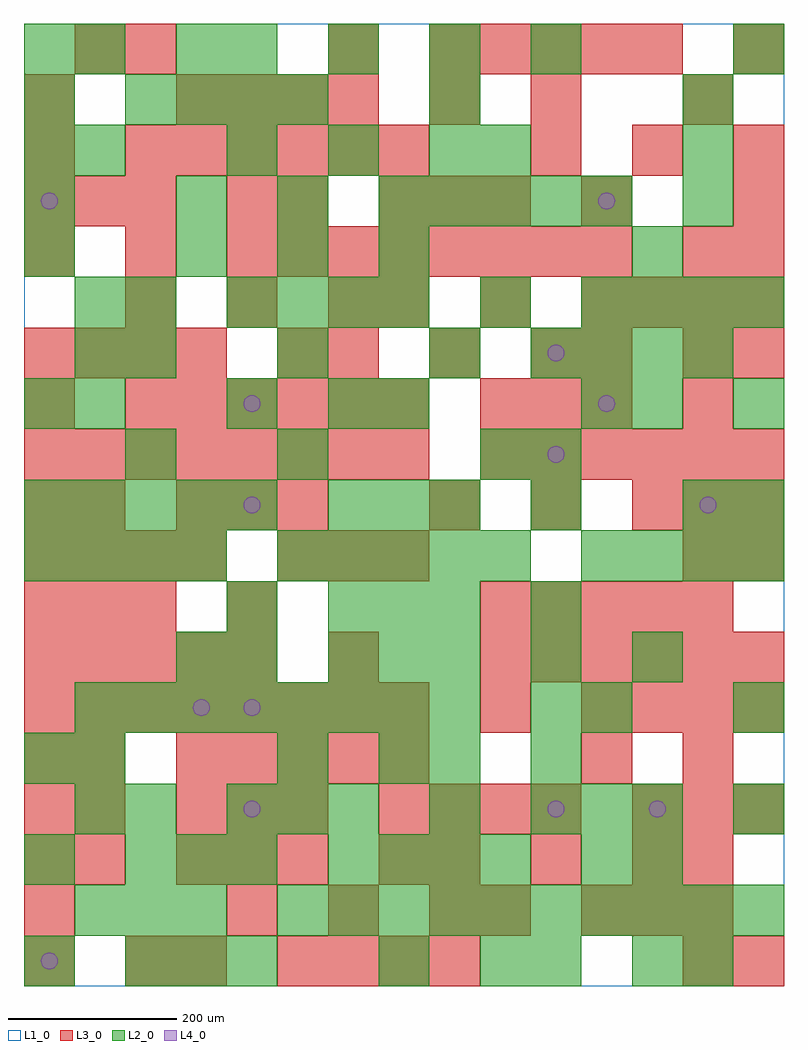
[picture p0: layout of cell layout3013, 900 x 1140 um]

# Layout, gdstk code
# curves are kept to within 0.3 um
import gdstk
lib = gdstk.Library(unit=1e-6, precision=1e-09)
def R(c, l, rs):  # rectangles x0, y0, x1, y1
    for r in rs: c.add(gdstk.rectangle(r[:2], r[2:], *l))
def A(c, l, x, y, w, h, nx, ny, dx, dy):  # array of equal rectangles
    R(c, l, [(x+i*dx, y+j*dy, x+i*dx+w, y+j*dy+h) for i in range(nx) for j in range(ny)])
def P(c, l, *ps):  # polygons
    for p in ps: c.add(gdstk.Polygon(p, *l))
L1_0 = (1, 0)
L2_0 = (2, 0)
L3_0 = (3, 0)
L4_0 = (4, 0)

layout3013 = lib.new_cell('layout3013')
R(layout3013, L1_0, [(0,0,900,1140)])
A(layout3013, L2_0, 0, 0, 60, 60, 1, 3, 0, 120)
A(layout3013, L2_0, 120, 0, 60, 60, 3, 2, 60, 120)
A(layout3013, L2_0, 60, 60, 60, 60, 3, 1, 60, 0)
A(layout3013, L2_0, 300, 60, 60, 60, 10, 1, 60, 0)
A(layout3013, L2_0, 360, 120, 60, 60, 4, 1, 60, 0)
A(layout3013, L2_0, 240, 180, 60, 60, 3, 1, 60, 0)
A(layout3013, L2_0, 600, 180, 60, 60, 3, 1, 60, 0)
A(layout3013, L2_0, 600, 240, 60, 60, 1, 4, 0, 60)
A(layout3013, L2_0, 60, 300, 60, 60, 8, 1, 60, 0)
A(layout3013, L2_0, 360, 360, 60, 60, 3, 2, 60, 60)
A(layout3013, L2_0, 0, 480, 60, 60, 4, 1, 60, 0)
A(layout3013, L2_0, 300, 480, 60, 60, 5, 1, 60, 0)
A(layout3013, L2_0, 660, 480, 60, 60, 4, 2, 60, 300)
A(layout3013, L2_0, 0, 540, 60, 60, 5, 1, 60, 0)
A(layout3013, L2_0, 360, 540, 60, 60, 3, 1, 60, 0)
A(layout3013, L2_0, 540, 600, 60, 60, 1, 3, 0, 180)
A(layout3013, L2_0, 60, 660, 60, 60, 1, 3, 0, 60)
A(layout3013, L2_0, 120, 720, 60, 60, 3, 1, 180, 0)
A(layout3013, L2_0, 600, 720, 60, 60, 4, 1, 60, 0)
A(layout3013, L2_0, 240, 780, 60, 60, 4, 1, 60, 0)
A(layout3013, L2_0, 0, 840, 60, 60, 1, 5, 0, 60)
A(layout3013, L2_0, 180, 840, 60, 60, 3, 2, 120, 60)
A(layout3013, L2_0, 480, 900, 60, 60, 4, 1, 60, 0)
A(layout3013, L2_0, 780, 900, 60, 60, 1, 3, 0, 60)
A(layout3013, L2_0, 240, 960, 60, 60, 3, 1, 120, 0)
A(layout3013, L2_0, 120, 1020, 60, 60, 4, 1, 60, 0)
A(layout3013, L2_0, 240, 1080, 60, 60, 4, 1, 120, 0)
R(layout3013, L2_0, [(420,0,480,60), (540,0,600,60), (600,0,660,60), (720,0,780,60), (780,0,840,60), (660,120,720,180), (720,120,780,180), (60,180,120,240), (120,180,180,240), (480,180,540,240), (840,180,900,240), (60,240,120,300), (300,240,360,300), (420,240,480,300), (480,240,540,300), (660,300,720,360), (840,300,900,360), (180,360,240,420), (240,360,300,420), (720,360,780,420), (240,420,300,480), (600,540,660,600), (780,540,840,600), (840,540,900,600), (120,600,180,660), (300,600,360,660), (600,600,660,660), (0,660,60,720), (240,660,300,720), (360,660,420,720), (420,660,480,720), (660,660,720,720), (720,660,780,720), (840,660,900,720), (120,780,180,840), (720,840,780,900), (60,960,120,1020), (480,1020,540,1080), (60,1080,120,1140), (180,1080,240,1140), (840,1080,900,1140)])
A(layout3013, L3_0, 0, 0, 60, 60, 1, 5, 0, 60)
A(layout3013, L3_0, 300, 0, 60, 60, 4, 1, 60, 0)
A(layout3013, L3_0, 780, 0, 60, 60, 1, 3, 0, 120)
A(layout3013, L3_0, 240, 60, 60, 60, 3, 1, 120, 0)
A(layout3013, L3_0, 660, 60, 60, 60, 3, 1, 60, 0)
A(layout3013, L3_0, 60, 120, 60, 60, 1, 3, 0, 60)
A(layout3013, L3_0, 180, 120, 60, 60, 3, 2, 60, 60)
A(layout3013, L3_0, 480, 120, 60, 60, 3, 2, 120, 420)
A(layout3013, L3_0, 420, 180, 60, 60, 4, 1, 60, 0)
A(layout3013, L3_0, 720, 180, 60, 60, 3, 2, 60, 600)
A(layout3013, L3_0, 180, 240, 60, 60, 5, 1, 60, 0)
A(layout3013, L3_0, 0, 300, 60, 60, 8, 2, 60, 300)
A(layout3013, L3_0, 660, 300, 60, 60, 4, 1, 60, 0)
A(layout3013, L3_0, 0, 360, 60, 60, 5, 1, 60, 0)
A(layout3013, L3_0, 540, 360, 60, 60, 6, 2, 60, 240)
A(layout3013, L3_0, 0, 420, 60, 60, 3, 2, 60, 480)
A(layout3013, L3_0, 540, 420, 60, 60, 5, 1, 60, 0)
A(layout3013, L3_0, 0, 480, 60, 60, 4, 2, 60, 240)
A(layout3013, L3_0, 300, 480, 60, 60, 3, 1, 60, 0)
A(layout3013, L3_0, 180, 540, 60, 60, 3, 1, 60, 0)
A(layout3013, L3_0, 120, 660, 60, 60, 6, 2, 60, 300)
A(layout3013, L3_0, 540, 660, 60, 60, 3, 1, 60, 0)
A(layout3013, L3_0, 360, 720, 60, 60, 3, 1, 120, 0)
A(layout3013, L3_0, 120, 780, 60, 60, 3, 1, 120, 0)
A(layout3013, L3_0, 420, 780, 60, 60, 3, 1, 120, 0)
A(layout3013, L3_0, 0, 840, 60, 60, 3, 1, 120, 0)
A(layout3013, L3_0, 300, 840, 60, 60, 7, 1, 60, 0)
A(layout3013, L3_0, 420, 900, 60, 60, 3, 1, 60, 0)
A(layout3013, L3_0, 600, 960, 60, 60, 3, 1, 120, 0)
A(layout3013, L3_0, 180, 1020, 60, 60, 4, 1, 60, 0)
A(layout3013, L3_0, 480, 1080, 60, 60, 5, 1, 60, 0)
R(layout3013, L3_0, [(120,0,180,60), (180,0,240,60), (840,0,900,60), (540,60,600,120), (420,120,480,180), (660,240,720,300), (540,300,600,360), (360,360,420,420), (240,420,300,480), (780,480,840,540), (840,480,900,540), (0,540,60,600), (60,540,120,600), (780,540,840,600), (840,540,900,600), (0,660,60,720), (780,660,840,720), (300,720,360,780), (660,720,720,780), (780,720,840,780), (840,720,900,780), (780,840,840,900), (840,840,900,900), (240,900,300,960), (300,900,360,960), (660,900,720,960), (840,900,900,960), (0,960,60,1020), (0,1020,60,1080), (480,1020,540,1080), (600,1020,660,1080), (780,1020,840,1080), (60,1080,120,1140), (120,1080,180,1140), (360,1080,420,1140), (840,1080,900,1140)])
P(layout3013, L4_0, [(40,30),(39.239,33.827),(37.071,37.071),(33.827,39.239),(30,40),(26.173,39.239),(22.929,37.071),(20.761,33.827),(20,30),(20.761,26.173),(22.929,22.929),(26.173,20.761),(30,20),(33.827,20.761),(37.071,22.929),(39.239,26.173)],
  [(40,930),(39.239,933.827),(37.071,937.071),(33.827,939.239),(30,940),(26.173,939.239),(22.929,937.071),(20.761,933.827),(20,930),(20.761,926.173),(22.929,922.929),(26.173,920.761),(30,920),(33.827,920.761),(37.071,922.929),(39.239,926.173)],
  [(220,330),(219.239,333.827),(217.071,337.071),(213.827,339.239),(210,340),(206.173,339.239),(202.929,337.071),(200.761,333.827),(200,330),(200.761,326.173),(202.929,322.929),(206.173,320.761),(210,320),(213.827,320.761),(217.071,322.929),(219.239,326.173)],
  [(280,210),(279.239,213.827),(277.071,217.071),(273.827,219.239),(270,220),(266.173,219.239),(262.929,217.071),(260.761,213.827),(260,210),(260.761,206.173),(262.929,202.929),(266.173,200.761),(270,200),(273.827,200.761),(277.071,202.929),(279.239,206.173)],
  [(280,330),(279.239,333.827),(277.071,337.071),(273.827,339.239),(270,340),(266.173,339.239),(262.929,337.071),(260.761,333.827),(260,330),(260.761,326.173),(262.929,322.929),(266.173,320.761),(270,320),(273.827,320.761),(277.071,322.929),(279.239,326.173)],
  [(280,570),(279.239,573.827),(277.071,577.071),(273.827,579.239),(270,580),(266.173,579.239),(262.929,577.071),(260.761,573.827),(260,570),(260.761,566.173),(262.929,562.929),(266.173,560.761),(270,560),(273.827,560.761),(277.071,562.929),(279.239,566.173)],
  [(280,690),(279.239,693.827),(277.071,697.071),(273.827,699.239),(270,700),(266.173,699.239),(262.929,697.071),(260.761,693.827),(260,690),(260.761,686.173),(262.929,682.929),(266.173,680.761),(270,680),(273.827,680.761),(277.071,682.929),(279.239,686.173)],
  [(640,210),(639.239,213.827),(637.071,217.071),(633.827,219.239),(630,220),(626.173,219.239),(622.929,217.071),(620.761,213.827),(620,210),(620.761,206.173),(622.929,202.929),(626.173,200.761),(630,200),(633.827,200.761),(637.071,202.929),(639.239,206.173)],
  [(640,630),(639.239,633.827),(637.071,637.071),(633.827,639.239),(630,640),(626.173,639.239),(622.929,637.071),(620.761,633.827),(620,630),(620.761,626.173),(622.929,622.929),(626.173,620.761),(630,620),(633.827,620.761),(637.071,622.929),(639.239,626.173)],
  [(640,750),(639.239,753.827),(637.071,757.071),(633.827,759.239),(630,760),(626.173,759.239),(622.929,757.071),(620.761,753.827),(620,750),(620.761,746.173),(622.929,742.929),(626.173,740.761),(630,740),(633.827,740.761),(637.071,742.929),(639.239,746.173)],
  [(700,690),(699.239,693.827),(697.071,697.071),(693.827,699.239),(690,700),(686.173,699.239),(682.929,697.071),(680.761,693.827),(680,690),(680.761,686.173),(682.929,682.929),(686.173,680.761),(690,680),(693.827,680.761),(697.071,682.929),(699.239,686.173)],
  [(700,930),(699.239,933.827),(697.071,937.071),(693.827,939.239),(690,940),(686.173,939.239),(682.929,937.071),(680.761,933.827),(680,930),(680.761,926.173),(682.929,922.929),(686.173,920.761),(690,920),(693.827,920.761),(697.071,922.929),(699.239,926.173)],
  [(760,210),(759.239,213.827),(757.071,217.071),(753.827,219.239),(750,220),(746.173,219.239),(742.929,217.071),(740.761,213.827),(740,210),(740.761,206.173),(742.929,202.929),(746.173,200.761),(750,200),(753.827,200.761),(757.071,202.929),(759.239,206.173)],
  [(820,570),(819.239,573.827),(817.071,577.071),(813.827,579.239),(810,580),(806.173,579.239),(802.929,577.071),(800.761,573.827),(800,570),(800.761,566.173),(802.929,562.929),(806.173,560.761),(810,560),(813.827,560.761),(817.071,562.929),(819.239,566.173)])

lib.write_gds('layout3013.gds')
